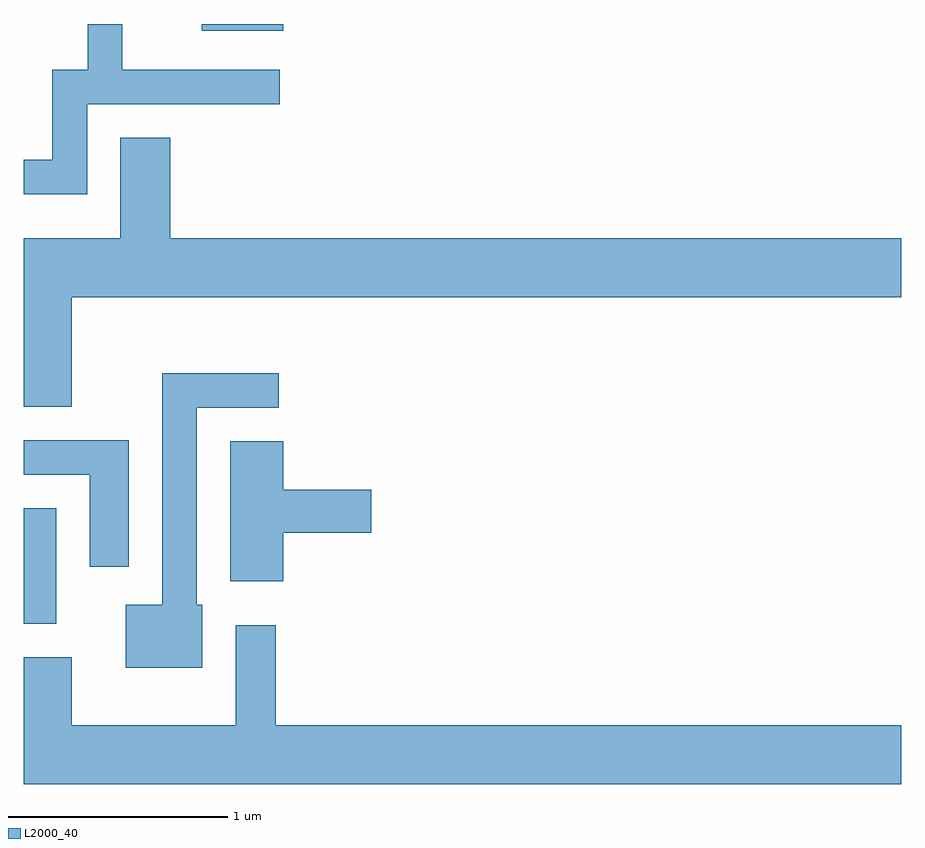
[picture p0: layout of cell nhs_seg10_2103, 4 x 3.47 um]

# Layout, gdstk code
import gdstk
lib = gdstk.Library(unit=1e-6, precision=1e-09)
def R(c, l, rs):  # rectangles x0, y0, x1, y1
    for r in rs: c.add(gdstk.rectangle(r[:2], r[2:], *l))
def P(c, l, *ps):  # polygons
    for p in ps: c.add(gdstk.Polygon(p, *l))
L2000_40 = (2000, 40)

nhs_seg10_2103 = lib.new_cell('nhs_seg10_2103')
R(nhs_seg10_2103, L2000_40, [(247.611,2085.786,247.759,2086.314), (248.421,2088.491,248.794,2088.522)])
P(nhs_seg10_2103, L2000_40, [(247.899,2088.156),(248.778,2088.156),(248.778,2088.314),(248.059,2088.314),(248.059,2088.522),(247.901,2088.522),(247.901,2088.314),(247.741,2088.314),(247.741,2087.904),(247.611,2087.904),(247.611,2087.746),(247.899,2087.746)],
  [(247.829,2087.276),(251.611,2087.276),(251.611,2087.544),(248.279,2087.544),(248.279,2088.004),(248.051,2088.004),(248.051,2087.544),(247.611,2087.544),(247.611,2086.776),(247.829,2086.776)],
  [(248.424,2085.874),(248.399,2085.874),(248.399,2086.771),(248.773,2086.771),(248.773,2086.929),(248.241,2086.929),(248.241,2085.874),(248.076,2085.874),(248.076,2085.586),(248.424,2085.586)],
  [(248.089,2086.624),(247.611,2086.624),(247.611,2086.466),(247.911,2086.466),(247.911,2086.046),(248.089,2086.046)],
  [(248.794,2086.201),(249.194,2086.201),(249.194,2086.399),(248.794,2086.399),(248.794,2086.619),(248.551,2086.619),(248.551,2085.981),(248.794,2085.981)],
  [(251.611,2085.324),(248.759,2085.324),(248.759,2085.779),(248.576,2085.779),(248.576,2085.324),(247.829,2085.324),(247.829,2085.634),(247.611,2085.634),(247.611,2085.056),(251.611,2085.056)])

lib.write_gds('nhs_seg10_2103.gds')
